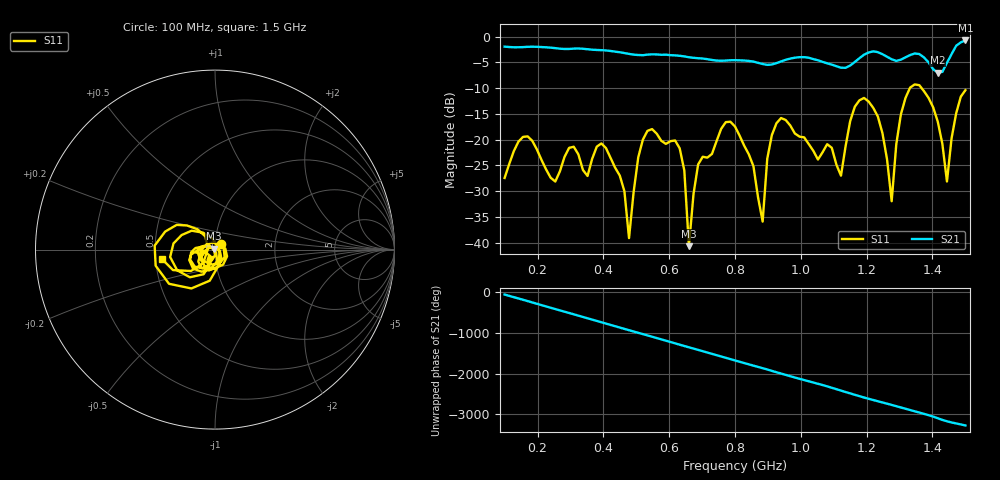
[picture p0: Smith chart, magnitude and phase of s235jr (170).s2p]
! NanoVNA-App
! Date: 2025-09-25 15:05:29
! Start: 100MHz Stop: 1,5GHz Points: 101
! S-Parameter data: F S11 S21 S12 S22
# Hz S RI R 50
!  Frequency  S11_Real  S11_Imag  S21_Real  S21_Imag  S12_Real  S12_Imag  S22_Real  S22_Imag
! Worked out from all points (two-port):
!   101 points, 100 MHz to 1.5 GHz, reference 50 ohm
!   highest |S21| = -0.76 dB at 1.5 GHz (marker M1); lowest = -7.0 dB at 1.416 GHz (marker M2)
!   |S21| within 3 dB of the highest: start of sweep to 635 MHz; 1.187 GHz to 1.258 GHz (70.29 MHz wide, 5.75 % of centre) (the widest 2 of 4)
!   lowest |S11| = -40.7 dB at 660 MHz (marker M3), VSWR 1.02, Z = 49.3 + j0.535 ohm
!   |S11| at or under -10 dB: start of sweep to 1.331 GHz; 1.367 GHz to end of sweep
!   S12 and S22 are empty: the file has one direction only
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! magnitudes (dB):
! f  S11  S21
! 100 MHz  -27.5  -2.0
! 170 MHz  -19.4  -2.0
! 338 MHz  -25.9  -2.4
! 408 MHz  -21.7  -2.7
! 478 MHz  -39.1  -3.4
! 520 MHz  -20.0  -3.6
! 576 MHz  -20.2  -3.5
! 632 MHz  -21.7  -3.7
! 660 MHz  -40.7  -4.0
! 688 MHz  -24.8  -4.2
! 800 MHz  -17.5  -4.6
! 884 MHz  -35.9  -5.3
! 926 MHz  -16.8  -5.2
! 1.038 GHz  -22.2  -4.4
! 1.122 GHz  -27.0  -6.0
! 1.192 GHz  -11.9  -3.5
! 1.248 GHz  -18.8  -3.4
! 1.276 GHz  -32.0  -4.4
! 1.332 GHz  -9.9  -3.6
! 1.416 GHz  -16.5  -7.0
! 1.444 GHz  -28.1  -5.1
! 1.5 GHz  -10.4  -0.8
